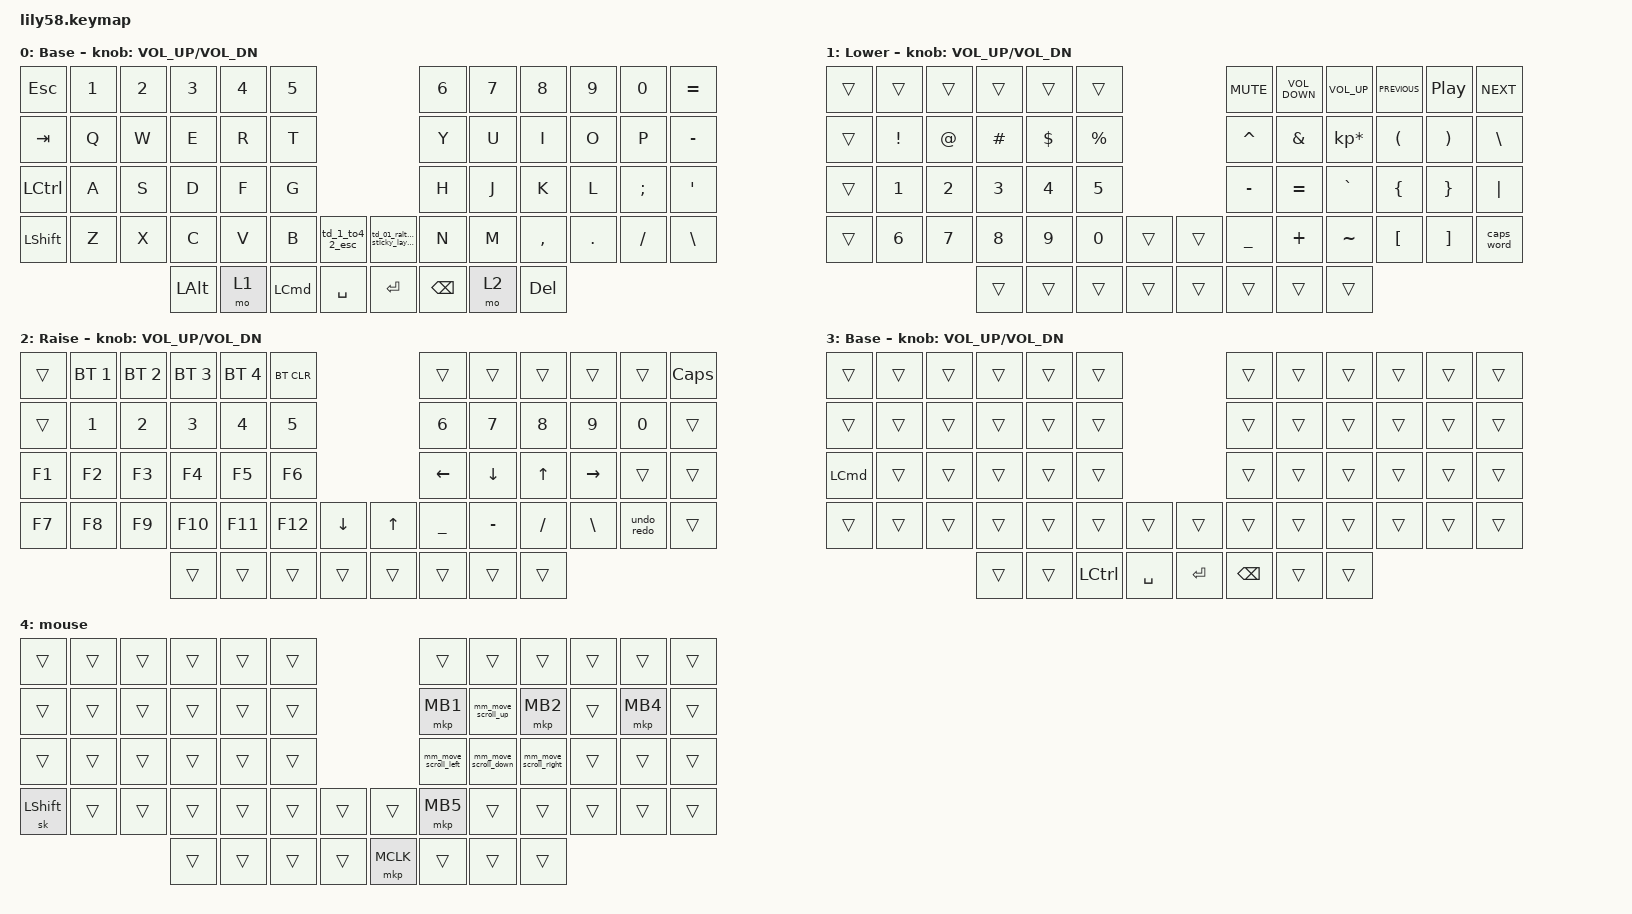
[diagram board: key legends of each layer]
/*
 * Copyright (c) 2020 The ZMK Contributors
 *
 * SPDX-License-Identifier: MIT
 */
/*
    Increase pointer / scroll speed
*/

#define ZMK_POINTING_DEFAULT_MOVE_VAL 1500  // default: 600
#define ZMK_POINTING_DEFAULT_SCRL_VAL 20    // default: 10

#include <behaviors.dtsi>
#include <dt-bindings/zmk/bt.h>
#include <dt-bindings/zmk/keys.h>
#include <dt-bindings/zmk/pointing.h>

/ {
    behaviors {
        undo_redo: undo_redo {
            compatible = "zmk,behavior-tap-dance";
            label = "UNDO_REDO";
            #binding-cells = <0>;
            bindings = <&kp K_UNDO>, <&kp K_REDO>;
        };

        B_CMDplusOPT: B_CMDplusOPT {
            compatible = "zmk,behavior-mod-morph";
            label = "B_CMDPLUSOPT";
            bindings = <&kp B>, <&kp LEFT_ALT>;

            #binding-cells = <0>;
            mods = <(MOD_LGUI)>;
            keep-mods = <(MOD_LGUI)>;
        };

        mm_move_scroll_left: mm_move_scroll_left {
            compatible = "zmk,behavior-mod-morph";
            label = "MM_MOVE_SCROLL_LEFT";
            bindings = <&mmv MOVE_LEFT>, <&msc SCRL_LEFT>;

            #binding-cells = <0>;
            mods = <(MOD_LSFT)>;
        };

        mm_move_scroll_right: mm_move_scroll_right {
            compatible = "zmk,behavior-mod-morph";
            label = "MM_MOVE_SCROLL_RIGHT";
            bindings = <&mmv MOVE_RIGHT>, <&msc SCRL_RIGHT>;

            #binding-cells = <0>;
            mods = <(MOD_LSFT)>;
        };

        mm_move_scroll_down: mm_move_scroll_down {
            compatible = "zmk,behavior-mod-morph";
            label = "MM_MOVE_SCROLL_DOWN";
            bindings = <&mmv MOVE_DOWN>, <&msc SCRL_DOWN>;

            #binding-cells = <0>;
            mods = <(MOD_LSFT)>;
        };

        mm_move_scroll_up: mm_move_scroll_up {
            compatible = "zmk,behavior-mod-morph";
            label = "MM_MOVE_SCROLL_UP";
            bindings = <&mmv MOVE_UP>, <&msc SCRL_UP>;

            #binding-cells = <0>;
            mods = <(MOD_LSFT)>;
        };

        td_1_to4_2_esc: td_1_to4_2_esc {
            compatible = "zmk,behavior-tap-dance";
            label = "TD_1_TO4_2_ESC";
            #binding-cells = <0>;
            bindings = <&tog 4>, <&kp ESC>;
        };

        td_01_ralt_02_sticky_layer_1: td_01_ralt_02_sticky_layer_1 {
            compatible = "zmk,behavior-tap-dance";
            label = "TD_01_RALT_02_STICKY_LAYER_1";
            #binding-cells = <0>;
            bindings = <&sk LEFT_ALT>, <&sl 1>;
        };
    };

    macros {
        new_macro: new_macro {
            compatible = "zmk,behavior-macro";
            #binding-cells = <0>;
            bindings = <&none>;
            label = "NEW_MACRO";
        };
    };

    keymap {
        compatible = "zmk,keymap";

        mac_base_layer {
            // ------------------------------------------------------------------------------------------------------------
            // |  ESC  |  1  |  2  |  3   |  4   |  5   |                   |  6   |  7    |  8    |  9   |   0   |   `   |
            // |  TAB  |  Q  |  W  |  E   |  R   |  T   |                   |  Y   |  U    |  I    |  O   |   P   |   -   |
            // |  CTRL |  A  |  S  |  D   |  F   |  G   |                   |  H   |  J    |  K    |  L   |   ;   |   '   |
            // | SHIFT |  Z  |  X  |  C   |  V   |  B   |   "["  |  |  "]"  |  N   |  M    |  ,    |  .   |   /   | SHIFT |
            //                     | ALT  | GUI  | LOWER|  SPACE |  | ENTER | RAISE| BSPC  | GUI   |

            display-name = "Base";
            bindings = <
&kp ESC           &kp NUMBER_1  &kp N2  &kp N3    &kp N4  &kp N5                                                              &kp N6         &kp N7  &kp N8      &kp N9   &kp N0    &kp EQUAL
&kp TAB           &kp Q         &kp W   &kp E     &kp R   &kp T                                                               &kp Y          &kp U   &kp I       &kp O    &kp P     &kp MINUS
&kp LEFT_CONTROL  &kp A         &kp S   &kp D     &kp F   &kp G                                                               &kp H          &kp J   &kp K       &kp L    &kp SEMI  &kp SQT
&kp LEFT_SHIFT    &kp Z         &kp X   &kp C     &kp V   &kp B             &td_1_to4_2_esc    &td_01_ralt_02_sticky_layer_1  &kp N          &kp M   &kp COMMA   &kp DOT  &kp FSLH  &kp BACKSLASH
                                        &kp LALT  &mo 1   &kp LEFT_COMMAND  &kp SPACE          &kp RET                        &kp BACKSPACE  &mo 2   &kp DELETE
            >;

            sensor-bindings = <&inc_dec_kp C_VOL_UP C_VOL_DN>;
        };

        nums_symbols {
            // ------------------------------------------------------------------------------------------------------------
            // | BTCLR | BT1 | BT2 |  BT3 |  BT4 |  BT5 |                   |      |       |       |      |       |       |
            // |  F1   |  F2 |  F3 |  F4  |  F5  |  F6  |                   |  F7  |  F8   |  F9   |  F10 |  F11  |  F12  |
            // |   `   |  !  |  @  |  #   |  $   |  %   |                   |  ^   |  &    |  *    |  (   |   )   |   ~   |
            // |       |     |     |      |      |      |        |  |       |      |  _    |  +    |  {   |   }   |  "|"  |
            //                     |      |      |      |        |  |       |      |       |       |

            display-name = "Lower";
            bindings = <
&trans  &trans        &trans        &trans        &trans        &trans                          &kp K_MUTE      &kp C_VOLUME_DOWN  &kp C_VOLUME_UP  &kp C_PREVIOUS        &kp C_PLAY_PAUSE       &kp C_NEXT
&trans  &kp EXCL      &kp AT        &kp HASH      &kp DOLLAR    &kp PERCENT                     &kp CARET       &kp AMPERSAND      &kp KP_MULTIPLY  &kp LEFT_PARENTHESIS  &kp RIGHT_PARENTHESIS  &kp BACKSLASH
&trans  &kp NUMBER_1  &kp NUMBER_2  &kp NUMBER_3  &kp NUMBER_4  &kp NUMBER_5                    &kp MINUS       &kp EQUAL          &kp GRAVE        &kp LEFT_BRACE        &kp RIGHT_BRACE        &kp PIPE
&trans  &kp NUMBER_6  &kp NUMBER_7  &kp NUMBER_8  &kp NUMBER_9  &kp NUMBER_0  &trans    &trans  &kp UNDERSCORE  &kp PLUS           &kp TILDE        &kp LEFT_BRACKET      &kp RIGHT_BRACKET      &caps_word
                                    &trans        &trans        &trans        &trans    &trans  &trans          &trans             &trans
            >;

            sensor-bindings = <&inc_dec_kp C_VOL_UP C_VOL_DN>;
        };

        arrows_fkeys {
            // ------------------------------------------------------------------------------------------------------------
            // |       |     |     |      |      |      |                   |      |       |       |      |       |       |
            // |   `   |  1  |  2  |  3   |  4   |  5   |                   |  6   |   7   |   8   |  9   |   0   |       |
            // |   F1  |  F2 |  F3 |  F4  |  F5  |  F6  |                   |      |   <-  |   v   |  ^   |  ->   |       |
            // |   F7  |  F8 |  F9 |  F10 |  F11 |  F12 |        |  |       |  +   |   -   |   =   |  [   |   ]   |   \   |
            //                     |      |      |      |        |  |       |      |       |       |

            display-name = "Raise";
            bindings = <
&trans  &bt BT_SEL 1  &bt BT_SEL 2  &bt BT_SEL 3  &bt BT_SEL 4  &bt BT_CLR                      &trans     &trans     &trans     &trans         &trans      &kp CAPSLOCK
&trans  &kp N1        &kp N2        &kp N3        &kp N4        &kp N5                          &kp N6     &kp N7     &kp N8     &kp N9         &kp N0      &trans
&kp F1  &kp F2        &kp F3        &kp F4        &kp F5        &kp F6                          &kp LEFT   &kp DOWN   &kp UP     &kp RIGHT      &trans      &trans
&kp F7  &kp F8        &kp F9        &kp F10       &kp F11       &kp F12     &kp DOWN    &kp UP  &kp UNDER  &kp MINUS  &kp SLASH  &kp BACKSLASH  &undo_redo  &trans
                                    &trans        &trans        &trans      &trans      &trans  &trans     &trans     &trans
            >;

            sensor-bindings = <&inc_dec_kp C_VOL_UP C_VOL_DN>;
        };

        windows_layer {
            display-name = "Base";
            bindings = <
&trans            &trans  &trans  &trans  &trans  &trans                                    &trans         &trans  &trans  &trans  &trans  &trans
&trans            &trans  &trans  &trans  &trans  &trans                                    &trans         &trans  &trans  &trans  &trans  &trans
&kp LEFT_COMMAND  &trans  &trans  &trans  &trans  &trans                                    &trans         &trans  &trans  &trans  &trans  &trans
&trans            &trans  &trans  &trans  &trans  &trans            &trans       &trans     &trans         &trans  &trans  &trans  &trans  &trans
                                  &trans  &trans  &kp LEFT_CONTROL  &kp SPACE    &kp ENTER  &kp BACKSPACE  &trans  &trans
            >;

            sensor-bindings = <&inc_dec_kp C_VOL_UP C_VOL_DN>;
        };

        mouse {
            bindings = <
&trans      &trans  &trans  &trans  &trans  &trans                       &trans                &trans                &trans                 &trans  &trans    &trans
&trans      &trans  &trans  &trans  &trans  &trans                       &mkp MB1              &mm_move_scroll_up    &mkp MB2               &trans  &mkp MB4  &trans
&trans      &trans  &trans  &trans  &trans  &trans                       &mm_move_scroll_left  &mm_move_scroll_down  &mm_move_scroll_right  &trans  &trans    &trans
&sk LSHIFT  &trans  &trans  &trans  &trans  &trans  &trans    &trans     &mkp MB5              &trans                &trans                 &trans  &trans    &trans
                            &trans  &trans  &trans  &trans    &mkp MCLK  &trans                &trans                &trans
            >;
        };
    };
};
